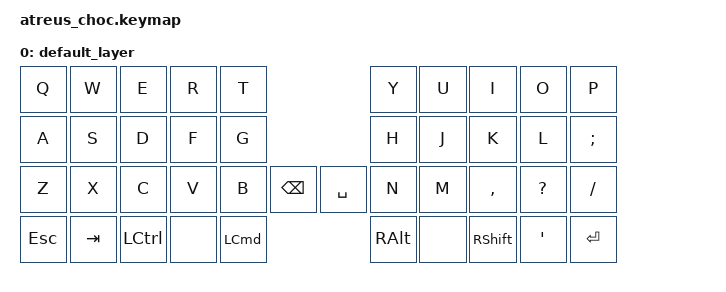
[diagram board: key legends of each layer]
/*
 * Copyright (c) 2020 The ZMK Contributors
 *
 * SPDX-License-Identifier: MIT
 */

#include <behaviors.dtsi>
#include <dt-bindings/zmk/keys.h>
#include <dt-bindings/zmk/bt.h>

/ {
    keymap {
        compatible = "zmk,keymap";
        default_layer {
            bindings = <
    &kp Q     &kp W    &kp E     &kp R     &kp T                         &kp Y     &kp U     &kp I     &kp O     &kp P   
    &kp A     &kp S    &kp D     &kp F     &kp G                         &kp H     &kp J     &kp K     &kp L     &kp SEMI
    &kp Z     &kp X    &kp C     &kp V     &kp B      &kp BSPC &kp SPACE &kp N     &kp M     &kp COMMA &kp QMARK &kp FSLH
    &kp ESC   &kp TAB  &kp LCTRL &none     &kp LCMD                      &kp RALT  &none     &kp RSHFT &kp SQT   &kp RET
            >;
        };
    };
};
